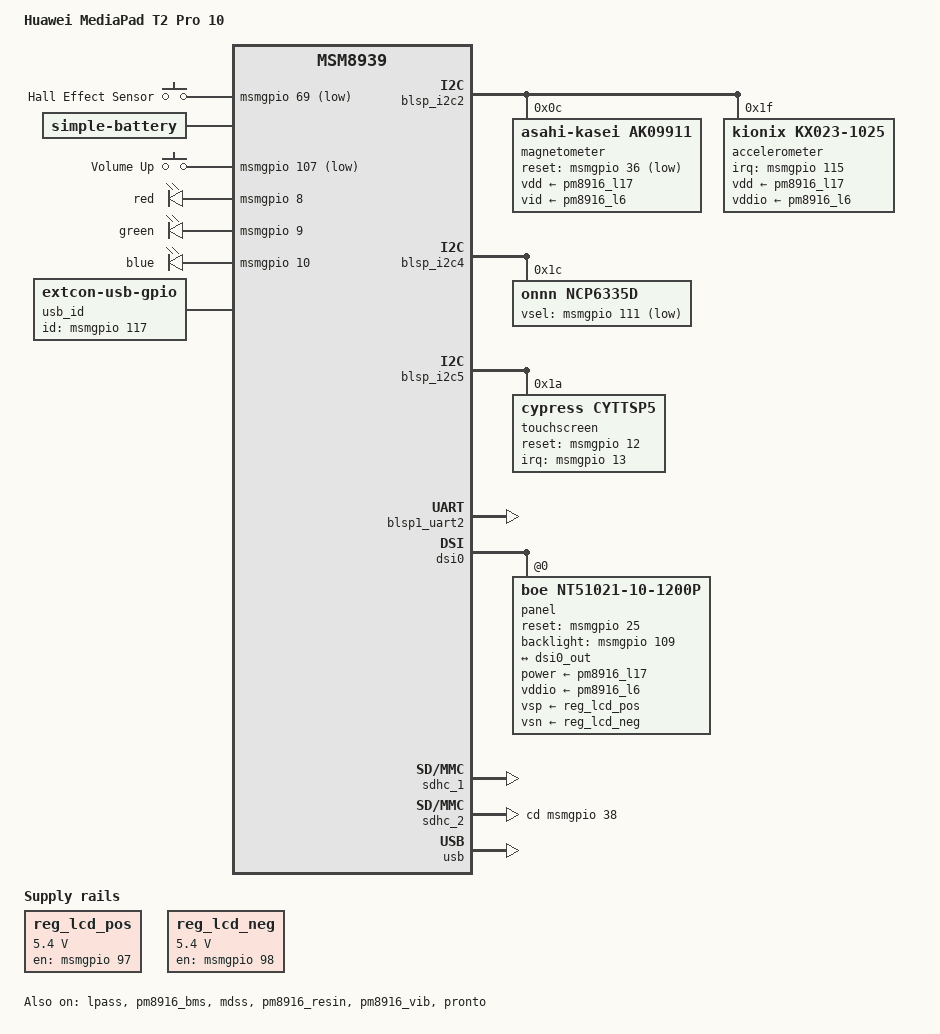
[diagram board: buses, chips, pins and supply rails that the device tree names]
// SPDX-License-Identifier: GPL-2.0-only

/dts-v1/;

#include "msm8939-pm8916.dtsi"
#include "arm/qcom-msm8939-no-psci.dtsi"
#include <dt-bindings/gpio/gpio.h>
#include <dt-bindings/input/input.h>
#include <dt-bindings/interrupt-controller/irq.h>
#include <dt-bindings/leds/common.h>
#include <dt-bindings/sound/apq8016-lpass.h>

/ {
	model = "Huawei MediaPad T2 Pro 10";
	compatible = "huawei,federer", "qcom,msm8939", "qcom,msm8939-qrd-skuk", "qcom,qrd";
	qcom,msm-id = <239 0>;
	qcom,board-id =
		<8000 0>, <8000 4>,
		<8128 0>, <8128 4>,
		<8016 0>, <8016 4>,
		<8032 0>, <8032 4>,
		<8112 0>, <8112 4>;

	aliases {
		serial0 = &blsp1_uart2;
	};

	chosen {
		stdout-path = "serial0";
	};

	gpio-hall-sensor {
		compatible = "gpio-keys";

		pinctrl-names = "default";
		pinctrl-0 = <&gpio_hall_sensor_default>;

		label = "GPIO Hall Effect Sensor";

		hall-sensor {
			label = "Hall Effect Sensor";
			gpios = <&msmgpio 69 GPIO_ACTIVE_LOW>;
			linux,input-type = <EV_SW>;
			linux,code = <SW_LID>;
			linux,can-disable;
		};
	};

	bat: battery {
		compatible = "simple-battery";
		voltage-min-design-microvolt = <3400000>;
		voltage-max-design-microvolt = <4350000>;
		energy-full-design-microwatt-hours = <11400000>;
		charge-full-design-microamp-hours = <3000000>;

		ocv-capacity-celsius = <25>;
		ocv-capacity-table-0 = <4314000 100>, <4252000 95>, <4197000 90>,
			<4143000 85>, <4092000 80>, <4044000 75>, <3999000 70>,
			<3953000 65>, <3905000 60>, <3868000 55>, <3841000 50>,
			<3818000 45>, <3799000 40>, <3783000 35>, <3767000 30>,
			<3748000 25>, <3724000 20>, <3699000 16>, <3678000 13>,
			<3671000 11>, <3668000 10>, <3664000 9>, <3659000 8>,
			<3649000 7>, <3627000 6>, <3588000 5>, <3535000 4>,
			<3469000 3>, <3381000 2>, <3252000 1>, <3000000 0>;
	};

	gpio-keys {
		compatible = "gpio-keys";

		pinctrl-names = "default";

		label = "GPIO Buttons";

		volume-up {
			label = "Volume Up";
			gpios = <&msmgpio 107 GPIO_ACTIVE_LOW>;
			linux,code = <KEY_VOLUMEUP>;
		};
	};

	leds {
		compatible = "gpio-leds";

		pinctrl-names = "default";
		pinctrl-0 = <&gpio_leds_default>;

		led-0 {
			gpios = <&msmgpio 8 GPIO_ACTIVE_HIGH>;
			label = "red";
			default-state = "off";
			retain-state-suspended;
		};

		led-1 {
			gpios = <&msmgpio 9 GPIO_ACTIVE_HIGH>;
			label = "green";
			default-state = "off";
			retain-state-suspended;
		};

		led-2 {
			gpios = <&msmgpio 10 GPIO_ACTIVE_HIGH>;
			label = "blue";
			default-state = "off";
			retain-state-suspended;
		};
	};

	reserved-memory {
		/delete-node/ venus@90000000;
		/delete-node/ rmtfs@86681000;
		/delete-node/ rfsa@867e0000;
		/delete-node/ mba@8ea00000;

		cont_splash_mem: framebuffer@83000000 {
			compatible = "removed-dma-pool";
			reg = <0x0 0x83000000 0x0 0x2000000>;
			no-map;
		};

		reserved@85000000 {
			reg = <0x0 0x85000000 0x0 0x1000000>;
			no-map;
		};

		rmtfs@86700000 {
			compatible = "qcom,rmtfs-mem";
			reg = <0x0 0x86700000 0x0 0x100000>;
			no-map;
			qcom,client-id = <1>;
		};

		gps_mem: gps@8b800000 {
			status = "disabled";
			reg = <0x0 0x8b800000 0x0 0x200000>;
			no-map;
		};

		tz-apps@8c700000 {
			reg = <0x0 0x8c700000 0x0 0x400000>;
			no-map;
		};

		ramoops: ramoops_mem_region@8cb00000 {
			compatible = "ramoops";
			reg = <0x0 0x8cb00000 0x0 0x200000>;

			record-size = <65536>;
			console-size = <1048576>;
			ftrace-size = <0>;
		};

		venus_mem: venus@8f800000 {
			reg = <0x0 0x8f800000 0x0 0x800000>;
			no-map;
		};

		reserved@f7800000 {
			reg = <0x0 0xf7800000 0x0 0x8400000>;
			no-map;
		};

		mba_mem: mba@ffc00000 {
			no-map;
			reg = <0 0xffc00000 0 0x400000>;
		};
	};

	reg_lcd_pos: regulator-lcd-pos {
		compatible = "regulator-fixed";
		regulator-name = "lcd-pos";
		regulator-min-microvolt = <5400000>;
		regulator-max-microvolt = <5400000>;
		gpio = <&msmgpio 97 GPIO_ACTIVE_HIGH>;
		enable-active-high;
		regulator-always-on;
		regulator-boot-on;
		pinctrl-names = "default";
		pinctrl-0 = <&lcd_p_en_default>;
	};

	reg_lcd_neg: regulator-lcd-neg {
		compatible = "regulator-fixed";
		regulator-name = "lcd-neg";
		regulator-min-microvolt = <5400000>;
		regulator-max-microvolt = <5400000>;		
		gpio = <&msmgpio 98 GPIO_ACTIVE_HIGH>;
		enable-active-high;
		regulator-always-on;
		regulator-boot-on;
		pinctrl-names = "default";
		pinctrl-0 = <&lcd_n_en_default>;
	};

	usb_id: usb-id {
		compatible = "linux,extcon-usb-gpio";
		id-gpio = <&msmgpio 117 GPIO_ACTIVE_HIGH>;
		pinctrl-names = "default";
		pinctrl-0 = <&usb_id_default>;
	};
};

&blsp_i2c2 {
	status = "okay";

	magnetometer@c {
		compatible = "asahi-kasei,ak09911";
		reg = <0x0c>;

		vdd-supply = <&pm8916_l17>;
		vid-supply = <&pm8916_l6>;

		reset-gpios = <&msmgpio 36 GPIO_ACTIVE_LOW>;

		pinctrl-names = "default";
		pinctrl-0 = <&mag_reset_default>;
	};
	
	accelerometer@1f {
		compatible = "kionix,kx023-1025";
		reg = <0x1f>;

		interrupt-parent = <&msmgpio>;
		interrupts = <115 IRQ_TYPE_EDGE_RISING>;

		vdd-supply = <&pm8916_l17>;
		vddio-supply = <&pm8916_l6>;

		pinctrl-names = "default";
		pinctrl-0 = <&accel_irq_default>;

		mount-matrix = "-1", "0", "0",
				"0", "1", "0",
				"0", "0", "1";
	};
};

&blsp_i2c4 {
	status = "okay";

	ncp6335d: ncp6335d-regulator@1c {
		compatible = "onnn,ncp6335d";
		reg = <0x1c>;
		pinctrl-names = "default";
		pinctrl-0 = <&ext_buck_vsel>;
		regulator-min-microvolt = <1050000>;
		regulator-max-microvolt = <1350000>;
		regulator-always-on; // otherwise device ~shuts off after ~30s
		onnn,vsel = <0>;
		onnn,slew-ns = <3333>;
		onnn,step-size = <6250>;
		onnn,min-slew-ns = <416>;
		onnn,max-slew-ns = <3333>;
		onnn,min-setpoint = <600000>;
		onnn,vsel-gpio = <&msmgpio 111 GPIO_ACTIVE_LOW>;
		onnn,discharge-enable;
		onnn,restore-reg;
	};

	fan53555: fan53555-regulator@60 {
		status = "disabled";
		compatible = "fcs,fan53555";
		reg = <0x60>;
		pinctrl-names = "default";
		pinctrl-0 = <&ext_buck_vsel>;
		regulator-min-microvolt =  <1050000>;
		regulator-max-microvolt = <1350000>;
		regulator-ramp-delay = <1250>;
		regulator-always-on;
		vsel-gpios = <&msmgpio 111 GPIO_ACTIVE_LOW>;
	};
};

&blsp_i2c5 {
	status = "okay";

	touchscreen@1a {
		compatible = "cypress,cyttsp5";
		reg = <0x1a>;

		interrupt-parent = <&msmgpio>;
		interrupts = <13 0x2008>;
		reset-gpios = <&msmgpio 12 0x0>;
	};
};

&blsp1_uart2 {
	status = "okay";
};

&dsi0 {
	status = "okay";
	#address-cells = <1>;
	#size-cells = <0>;
	panel@0 {
		status = "okay";
		compatible = "boe,nt51021-10-1200p";
		reg = <0>;

		reset-gpios = <&msmgpio 25 GPIO_ACTIVE_HIGH>;
		power-supply = <&pm8916_l17>;
		vddio-supply = <&pm8916_l6>;
		vsp-supply = <&reg_lcd_pos>;
		vsn-supply = <&reg_lcd_neg>;

		//te-gpios = <&msmgpio 24 GPIO_ACTIVE_HIGH>;

		backlight-gpios = <&msmgpio 109 GPIO_ACTIVE_HIGH>;

		pinctrl-names = "default";
		pinctrl-0 = <&lcd_bl_en_default>;

		port {
			panel_in: endpoint {
				remote-endpoint = <&dsi0_out>;
			};
		};
	};
};

&dsi0_out {
	data-lanes = <0 1 2 3>;
	remote-endpoint = <&panel_in>;
};

&dsi_phy0 {
	qcom,dsi-phy-regulator-ldo-mode;
};

&lpass {
	status = "okay";
};

&pm8916_bms {
	status = "okay";

	monitored-battery = <&bat>;
};

&mdss {
	status = "okay";
};

&pm8916_resin {
	status = "okay";
	linux,code = <KEY_VOLUMEDOWN>;
};

&pm8916_vib {
	status = "okay";
};

&pronto {
	status = "okay";

	iris {
		compatible = "qcom,wcn3660b";
	};
};

&sdhc_1 {
	status = "okay";

	pinctrl-names = "default", "sleep";
	pinctrl-0 = <&sdc1_clk_on &sdc1_cmd_on &sdc1_data_on>;
	pinctrl-1 = <&sdc1_clk_off &sdc1_cmd_off &sdc1_data_off>;
};

&sdhc_2 {
	status = "okay";

	pinctrl-names = "default", "sleep";
	pinctrl-0 = <&sdc2_clk_on &sdc2_cmd_on &sdc2_data_on &sdc2_cd_on>;
	pinctrl-1 = <&sdc2_clk_off &sdc2_cmd_off &sdc2_data_off &sdc2_cd_off>;

	cd-gpios = <&msmgpio 38 GPIO_ACTIVE_HIGH>;
};

&sound {
	status = "okay";

	pinctrl-names = "default", "sleep";
	pinctrl-0 = <&cdc_pdm_lines_act>;
	pinctrl-1 = <&cdc_pdm_lines_sus>;

	model = "msm8916";
	audio-routing =
		"AMIC1", "MIC BIAS External1",
		"AMIC2", "MIC BIAS Internal2",
		"AMIC3", "MIC BIAS External1";

	dai-link-primary {
		link-name = "Primary MI2S";
		cpu {
			sound-dai = <&lpass MI2S_PRIMARY>;
		};
		codec {
			sound-dai = <&lpass_codec 0>, <&wcd_codec 0>;
		};
	};

	dai-link-tertiary {
		link-name = "Tertiary MI2S";
		cpu {
			sound-dai = <&lpass MI2S_TERTIARY>;
		};
		codec {
			sound-dai = <&lpass_codec 1>, <&wcd_codec 1>;
		};
	};
};

&usb {
	status = "okay";
	extcon = <&usb_id>, <&usb_id>;
};

&wcd_codec {
	qcom,micbias-lvl = <2800>;
	qcom,mbhc-vthreshold-low = <75 150 237 450 500>;
	qcom,mbhc-vthreshold-high = <75 150 237 450 500>;
	qcom,micbias1-ext-cap;
	qcom,hphl-jack-type-normally-open;
};

&usb_hs_phy {
	extcon = <&usb_id>;
};

&smd_rpm_regulators {
	vdd_l1_l2_l3-supply = <&pm8916_s3>;
	vdd_l4_l5_l6-supply = <&pm8916_s4>;
	vdd_l7-supply = <&pm8916_s4>;

	s3 {
		regulator-min-microvolt = <1200000>;
		regulator-max-microvolt = <1300000>;
	};

	s4 {
		regulator-min-microvolt = <1800000>;
		regulator-max-microvolt = <2100000>;
	};

	l1 {
		regulator-min-microvolt = <1225000>;
		regulator-max-microvolt = <1225000>;
	};

	l2 {
		regulator-min-microvolt = <1200000>;
		regulator-max-microvolt = <1200000>;
	};

	l4 {
		regulator-min-microvolt = <2050000>;
		regulator-max-microvolt = <2050000>;
	};

	l5 {
		regulator-min-microvolt = <1800000>;
		regulator-max-microvolt = <1800000>;
	};

	l6 {
		regulator-min-microvolt = <1800000>;
		regulator-max-microvolt = <1800000>;
		regulator-boot-on;
		regulator-always-on;
	};

	l7 {
		regulator-min-microvolt = <1800000>;
		regulator-max-microvolt = <1800000>;
	};

	l8 {
		regulator-min-microvolt = <2950000>;
		regulator-max-microvolt = <2950000>;
	};

	l9 {
		regulator-min-microvolt = <3300000>;
		regulator-max-microvolt = <3300000>;
	};

	l10 {
		regulator-min-microvolt = <2700000>;
		regulator-max-microvolt = <2800000>;
	};

	l11 {
		regulator-min-microvolt = <1800000>;
		regulator-max-microvolt = <2950000>;
		regulator-allow-set-load;
		regulator-system-load = <200000>;
	};

	l12 {
		regulator-min-microvolt = <1800000>;
		regulator-max-microvolt = <2950000>;
	};

	l13 {
		regulator-min-microvolt = <3075000>;
		regulator-max-microvolt = <3075000>;
	};

	l14 {
		regulator-min-microvolt = <1800000>;
		regulator-max-microvolt = <3300000>;
	};

	l15 {
		regulator-min-microvolt = <1800000>;
		regulator-max-microvolt = <3300000>;
	};

	l16 {
		regulator-min-microvolt = <1800000>;
		regulator-max-microvolt = <3300000>;
	};

	l17 {
		regulator-min-microvolt = <2850000>;
		regulator-max-microvolt = <2850000>;
		regulator-boot-on;
		regulator-always-on;
	};

	l18 {
		regulator-min-microvolt = <2700000>;
		regulator-max-microvolt = <2700000>;
	};
};

&msmgpio {
	accel_irq_default: accel-irq-default {
		pins = "gpio115";
		function = "gpio";

		drive-strength = <2>;
		bias-disable;
	};

	gpio_hall_sensor_default: gpio-hall-sensor-default {
		pins = "gpio69";
		function = "gpio";

		drive-strength = <2>;
		bias-disable;
	};

	gpio_leds_default: gpio-leds-default {
		pins = "gpio8", "gpio9", "gpio10";
		function = "gpio";

		drive-strength = <2>;
		bias-disable;
	};

	mag_reset_default: mag-reset-default {
		pins = "gpio36";
		function = "gpio";

		drive-strength = <2>;
		bias-disable;
	};
	
	lcd_bl_en_default: lcd-bl-en-default {
		pins = "gpio109";
		function = "gpio";

		drive-strength = <2>;
		bias-disable;
	};
	
	lcd_p_en_default: lcd-p-en-default {
		pins = "gpio97";
		function = "gpio";

		drive-strength = <2>;
		bias-disable;
	};

	lcd_n_en_default: lcd-n-en-default {
		pins = "gpio98";
		function = "gpio";

		drive-strength = <2>;
		bias-disable;
	};

	mdss {
		mdss_default: mdss-default {
			pins = "gpio25";
			function = "gpio";

			drive-strength = <8>;
			bias-disable;
		};
		mdss_sleep: mdss-sleep {
			pins = "gpio25";
			function = "gpio";

			drive-strength = <2>;
			bias-pull-down;
		};
	};
	
	pmx_mdss_te {
		mdss_te_default: mdss_te_default {
			pins = "gpio24";
			function = "gpio";

			drive-strength = <8>;
			bias-disable;
		};

		mdss_te_sleep: mdss_te_sleep {
			pins = "gpio24";
			function = "gpio";

			drive-strength = <2>;
			bias-pull-down;
		};
	};

	ext_buck_vsel: ext_buck_vsel {
		pins = "gpio111";
		function = "gpio";

		drive-strength = <2>;
	};

	usb_id_default: usb_id_default {
		pins = "gpio117";
		function = "gpio";

		drive-strength = <8>;
		bias-pull-up;
	};
};
